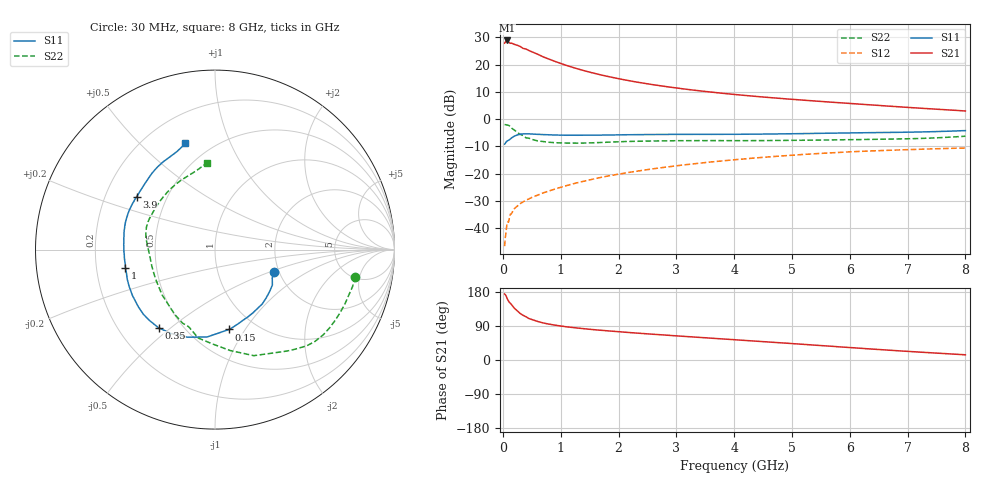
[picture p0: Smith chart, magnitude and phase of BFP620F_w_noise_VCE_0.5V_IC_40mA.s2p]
! Infineon Technologies  Discrete & RF Semiconductors
! BFP620F
! VCE =  0.5 V,  IC =  40 mA
! Common Emitter S-Parameters:  Dec 2014
# GHz  S  MA  R  50
!  f  S11  S21  S12  S22
! GHz  MAG  ANG  MAG  ANG  MAG  ANG  MAG  ANG
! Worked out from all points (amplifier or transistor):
!   95 points, 30 MHz to 8 GHz, reference 50 ohm
!   highest |S21| = 28.8 dB at 70 MHz (marker M1)
!   |S21| within 3 dB of that: start of sweep to 369.5 MHz
!   unconditionally stable (mu >= 1): start of sweep to 39.12 MHz; 1.617 GHz to end of sweep
!   at 300 MHz: K = 0.49, MSG = 28.8 dB, |S12| = -31.0 dB
!   at 3.3 GHz: K = 1.05, MAG = 12.2 dB, |S12| = -16.4 dB
!   at 8 GHz: K = 1.07, MAG = 5.1 dB, |S12| = -10.6 dB
!   lowest NFmin = 1.36 dB at 450 MHz
!   S11 on the Smith chart (normalised r, x): 30 MHz: 1.88, -0.52; 150 MHz: 0.76, -0.85; 350 MHz: 0.37, -0.45; 1 GHz: 0.33, -0.09; 3.9 GHz: 0.34, +0.27; 8 GHz: 0.36, +0.70
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0.03  0.349 -20.5  24.66 174.1  0.0047 85.1  0.7955 -10.9
0.05  0.3758 -31.7  26.76 170.8  0.0077 81.2  0.7873 -18.8
0.07  0.3923 -43.5  27.63 163.7  0.012 74.8  0.781 -26.4
0.09  0.4048 -54.4  26.67 157.4  0.0133 70.2  0.7733 -34.2
0.12  0.4241 -68.7  24.67 151.1  0.0165 68.2  0.7404 -46.4
0.15  0.4516 -79.9  24.67 146.0  0.0187 62.8  0.6849 -56.0
0.2  0.4893 -95.3  23.41 136.4  0.023 59.3  0.6293 -69.9
0.25  0.5125 -107.9  22.55 129.7  0.0255 57.4  0.5679 -81.6
0.3  0.5277 -117.7  21.43 122.8  0.0282 55.5  0.5262 -91.4
0.35  0.5372 -125.8  19.76 117.9  0.0305 55.3  0.5016 -100.7
0.45  0.5376 -137.9  18.08 109.5  0.0346 54.8  0.448 -113.7
0.6  0.5264 -150.7  15.48 101.8  0.0404 55.4  0.3997 -131.4
0.8  0.5162 -161.1  12.54 94.6  0.0483 57.1  0.3763 -146.2
1  0.5094 -168.5  10.48 89.7  0.0563 58.3  0.3662 -157.5
1.4  0.5077 -178.9  7.752 82.6  0.0728 59.1  0.3643 -173.3
2  0.5146 170.0  5.51 74.7  0.0982 57.9  0.384 172.9
2.7  0.5231 160.2  4.12 66.9  0.1271 54.6  0.3984 164.5
3.9  0.5274 145.9  2.902 54.6  0.1758 46.9  0.4036 152.5
4.1  0.5278 143.8  2.771 52.5  0.1838 45.4  0.4031 150.1
5.4  0.5475 131.3  2.147 39.1  0.2321 35.0  0.4126 133.3
6.7  0.5704 118.5  1.723 25.7  0.2689 23.8  0.4306 115.5
8  0.6168 105.5  1.41 13.7  0.2955 13.3  0.4862 95.0
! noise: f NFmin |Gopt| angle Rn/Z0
0.45  1.36  0.16  -173  0.16
0.9  1.38  0.16  -172  0.13
1.5  1.39  0.21  -152  0.11
1.8  1.4  0.21  -151  0.11
1.9  1.41  0.21  -150  0.11
2.4  1.43  0.21  214  0.13
3.5  1.49  0.22  220  0.17
5.5  1.63  0.27  247  0.17
6  1.67  0.28  261  0.2
